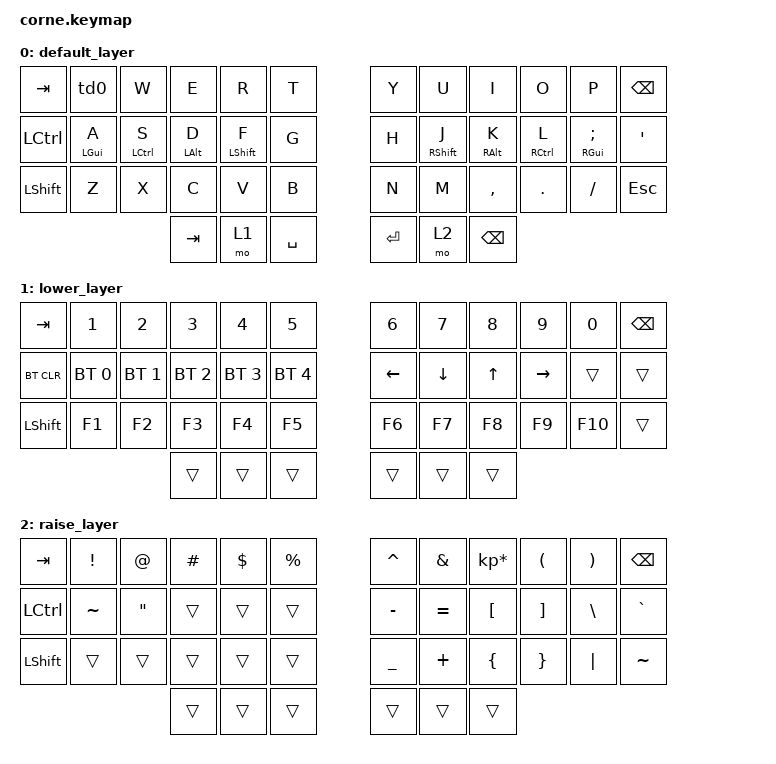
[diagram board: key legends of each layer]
/*
 * Copyright (c) 2020 The ZMK Contributors
 *
 * SPDX-License-Identifier: MIT
 */

#include <behaviors.dtsi>
#include <dt-bindings/zmk/keys.h>
#include <dt-bindings/zmk/bt.h>

/ {
        behaviors {
                bhm: balanced_homerow_mods {
                        compatible = "zmk,behavior-hold-tap";
                        label = "HOMEROW_MODS";
                        #binding-cells = <2>;
                        tapping-term-ms = <250>;
                        quick-tap-ms = <0>;
                        flavor = "tap-preferred";
                        bindings = <&kp>, <&kp>;
                };
                td0: tap_dance_0 {
                        compatible = "zmk,behavior-tap-dance";
                        #binding-cells = <0>;
                        tapping-term-ms = <250>;
                        bindings = <&kp Q>, <&kp ESC>;
                };
        };
        
        keymap {
                compatible = "zmk,keymap";

                default_layer {
// -----------------------------------------------------------------------------------------
// |  TAB |  Q  |  W  |  E  |  R  |  T  |   |  Y  |  U   |  I  |  O  |  P  | BKSP |
// | CTRL |  A  |  S  |  D  |  F  |  G  |   |  H  |  J   |  K  |  L  |  ;  |  '   |
// | SHFT |  Z  |  X  |  C  |  V  |  B  |   |  N  |  M   |  ,  |  .  |  /  | ESC  |
//                    | GUI | LWR | SPC |   | ENT | RSE  | ALT |
                        bindings = <
   &kp TAB   &td0 &kp W &kp E &kp R &kp T   &kp Y &kp U  &kp I     &kp O   &kp P    &kp BSPC
   &kp LCTRL &bhm LGUI A &bhm LCTRL S &bhm LALT D &bhm LSHIFT F &kp G   &kp H &bhm RSHIFT J  &bhm RALT K     &bhm RCTRL L   &bhm RGUI SEMI &kp SQT
   &kp LSHFT &kp Z &kp X &kp C &kp V &kp B   &kp N &kp M  &kp COMMA &kp DOT &kp FSLH &kp ESC
                  &kp TAB &mo 1 &kp SPACE   &kp RET &mo 2 &kp BSPC
                        >;
                };
                lower_layer {
// -----------------------------------------------------------------------------------------
// |  TAB |  1  |  2  |  3  |  4  |  5  |   |  6  |  7  |  8  |  9  |  0  | BKSP |
// | BTCLR| BT1 | BT2 | BT3 | BT4 | BT5 |   | LFT | DWN |  UP | RGT |     |      |
// | SHFT |     |     |     |     |     |   |     |     |     |     |     |      |
//                    | GUI |     | SPC |   | ENT |     | ALT |
                        bindings = <
   &kp TAB    &kp N1       &kp N2       &kp N3       &kp N4       &kp N5         &kp N6   &kp N7   &kp N8 &kp N9    &kp N0 &kp BSPC
   &bt BT_CLR &bt BT_SEL 0 &bt BT_SEL 1 &bt BT_SEL 2 &bt BT_SEL 3 &bt BT_SEL 4   &kp LEFT &kp DOWN &kp UP &kp RIGHT &trans &trans
   &kp LSHFT  &kp F1       &kp F2       &kp F3       &kp F4       &kp F5         &kp F6   &kp F7   &kp F8 &kp F9    &kp F10 &trans
                                    &trans    &trans       &trans      &trans  &trans   &trans
                        >;
                };

                raise_layer {
// -----------------------------------------------------------------------------------------
// |  TAB |  !  |  @  |  #  |  $  |  %  |   |  ^  |  &  |  *  |  (  |  )  | BKSP |
// | CTRL |     |     |     |     |     |   |  -  |  =  |  [  |  ]  |  \  |  `   |
// | SHFT |     |     |     |     |     |   |  _  |  +  |  {  |  }  | "|" |  ~   |
//                    | GUI |     | SPC |   | ENT |     | ALT |
                        bindings = <
   &kp  TAB  &kp EXCL &kp AT &kp HASH &kp DLLR &kp PRCNT   &kp CARET &kp AMPS  &kp KP_MULTIPLY &kp LPAR &kp RPAR &kp BSPC
   &kp LCTRL &kp TILDE   &kp DQT &trans   &trans   &trans      &kp MINUS &kp EQUAL &kp LBKT        &kp RBKT &kp BSLH &kp GRAVE
   &kp LSHFT &trans   &trans &trans   &trans   &trans      &kp UNDER &kp PLUS  &kp LBRC        &kp RBRC &kp PIPE &kp TILDE
                        &trans &trans   &trans   &trans   &trans    &trans
                        >;
                };
        };
};
